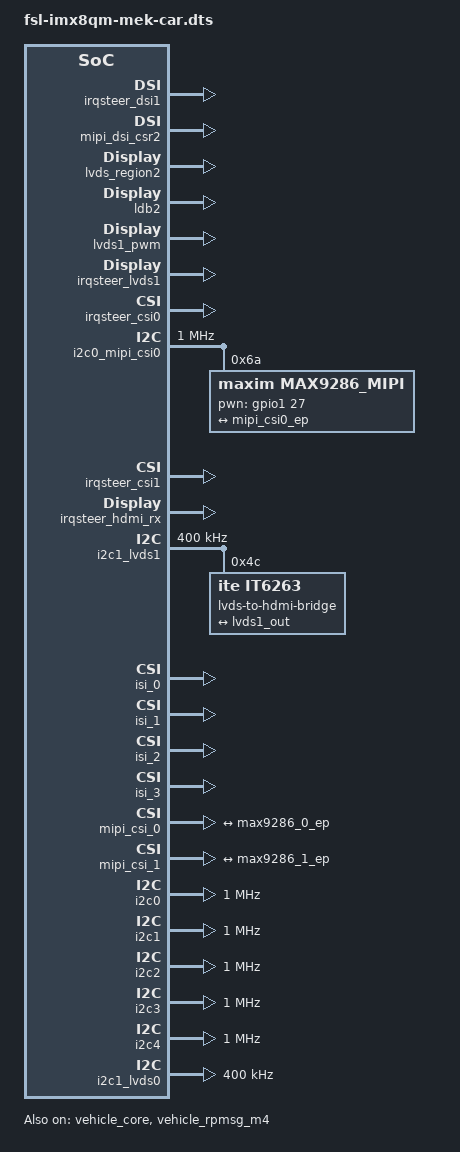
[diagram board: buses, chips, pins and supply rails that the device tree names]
/*
 * Copyright 2018 NXP
 *
 * This program is free software; you can redistribute it and/or
 * modify it under the terms of the GNU General Public License
 * as published by the Free Software Foundation; either version 2
 * of the License, or (at your option) any later version.
 *
 * This program is distributed in the hope that it will be useful,
 * but WITHOUT ANY WARRANTY; without even the implied warranty of
 * MERCHANTABILITY or FITNESS FOR A PARTICULAR PURPOSE.  See the
 * GNU General Public License for more details.
 */

#include "fsl-imx8qm-mek-rpmsg.dts"
/ {
	trusty {
		compatible = "android,trusty-smc-v1";
		ranges;
		#address-cells = <2>;
		#size-cells = <2>;
		use-gicv3-workaround;
		trusty-irq {
			use-gicv3-workaround;
			compatible = "android,trusty-irq-v1";
			interrupt-templates = <&trusty_ipi 0>;
			interrupt-ranges = < 0 15 0>;
		};
		trusty-virtio {
			compatible = "android,trusty-virtio-v1";
		};
		trusty-log {
			compatible = "android,trusty-log-v1";
		};
	};
	trusty_ipi: interrupt-controller@0 {
		compatible = "android,CustomIPI";
		interrupt-controller;
		#interrupt-cells = <1>;
	};
};

/delete-node/ &i2c1_lvds1;
/delete-node/ &camera;
/delete-node/ &dpu2_intsteer;
/delete-node/ &prg10;
/delete-node/ &prg11;
/delete-node/ &prg12;
/delete-node/ &prg13;
/delete-node/ &prg14;
/delete-node/ &prg15;
/delete-node/ &prg16;
/delete-node/ &prg17;
/delete-node/ &prg18;
/delete-node/ &dpr3_channel1;
/delete-node/ &dpr3_channel2;
/delete-node/ &dpr3_channel3;
/delete-node/ &dpr4_channel1;
/delete-node/ &dpr4_channel2;
/delete-node/ &dpr4_channel3;
/delete-node/ &dpu2;
/delete-node/ &pixel_combiner2;

/delete-node/ &irqsteer_dsi1;
/delete-node/ &i2c0_mipi_dsi1;
/delete-node/ &mipi_dsi_csr2;
/delete-node/ &mipi_dsi_phy2;
/delete-node/ &mipi_dsi2;
/delete-node/ &mipi_dsi_bridge2;
/delete-node/ &lvds_region2;
/delete-node/ &ldb2_phy;
/delete-node/ &ldb2;
/delete-node/ &lvds1_pwm;
/delete-node/ &irqsteer_lvds1;

/delete-node/ &irqsteer_csi0;
/delete-node/ &irqsteer_csi1;
/delete-node/ &i2c0_mipi_csi0;
/delete-node/ &i2c0_mipi_csi1;
/delete-node/ &gpio0_mipi_csi0;
/delete-node/ &gpio0_mipi_csi1;
/delete-node/ &irqsteer_hdmi_rx;

&vehicle_core {
	status = "okay";
};

&vehicle_rpmsg_m4 {
	#address-cells = <2>;
	#size-cells = <2>;
	status = "okay";
	ranges;

	clk_post: clk1 {
		compatible = "fsl,imx8qm-post-clk";
		#clock-cells = <1>;
	};

	dpu2_intsteer: dpu_intsteer@57000000 {
		compatible = "fsl,imx8qm-dpu-intsteer", "syscon";
		reg = <0x0 0x57000000 0x0 0x10000>;
	};

	pixel_combiner2: pixel-combiner@57020000 {
		compatible = "fsl,imx8qm-pixel-combiner";
		reg = <0x0 0x57020000 0x0 0x10000>;
		power-domains = <&pd_dc1>;
		status = "okay";
	};

	prg10: prg@57040000 {
		compatible = "fsl,imx8qm-prg";
		reg = <0x0 0x57040000 0x0 0x10000>;
		clocks = <&clk_post IMX8QM_DC1_PRG0_APB_CLK>,
			 <&clk_post IMX8QM_DC1_PRG0_RTRAM_CLK>;
		clock-names = "apb", "rtram";
		power-domains = <&pd_dc1>;
		status = "okay";
	};

	prg11: prg@57050000 {
		compatible = "fsl,imx8qm-prg";
		reg = <0x0 0x57050000 0x0 0x10000>;
		clocks = <&clk_post IMX8QM_DC1_PRG1_APB_CLK>,
			 <&clk_post IMX8QM_DC1_PRG1_RTRAM_CLK>;
		clock-names = "apb", "rtram";
		power-domains = <&pd_dc1>;
		status = "okay";
	};

	prg12: prg@57060000 {
		compatible = "fsl,imx8qm-prg";
		reg = <0x0 0x57060000 0x0 0x10000>;
		clocks = <&clk_post IMX8QM_DC1_PRG2_APB_CLK>,
			 <&clk_post IMX8QM_DC1_PRG2_RTRAM_CLK>;
		clock-names = "apb", "rtram";
		power-domains = <&pd_dc1>;
		status = "okay";
	};

	prg13: prg@57070000 {
		compatible = "fsl,imx8qm-prg";
		reg = <0x0 0x57070000 0x0 0x10000>;
		clocks = <&clk_post IMX8QM_DC1_PRG3_APB_CLK>,
			 <&clk_post IMX8QM_DC1_PRG3_RTRAM_CLK>;
		clock-names = "apb", "rtram";
		power-domains = <&pd_dc1>;
		status = "okay";
	};

	prg14: prg@57080000 {
		compatible = "fsl,imx8qm-prg";
		reg = <0x0 0x57080000 0x0 0x10000>;
		clocks = <&clk_post IMX8QM_DC1_PRG4_APB_CLK>,
			 <&clk_post IMX8QM_DC1_PRG4_RTRAM_CLK>;
		clock-names = "apb", "rtram";
		power-domains = <&pd_dc1>;
		status = "okay";
	};

	prg15: prg@57090000 {
		compatible = "fsl,imx8qm-prg";
		reg = <0x0 0x57090000 0x0 0x10000>;
		clocks = <&clk_post IMX8QM_DC1_PRG5_APB_CLK>,
			 <&clk_post IMX8QM_DC1_PRG5_RTRAM_CLK>;
		clock-names = "apb", "rtram";
		power-domains = <&pd_dc1>;
		status = "okay";
	};

	prg16: prg@570a0000 {
		compatible = "fsl,imx8qm-prg";
		reg = <0x0 0x570a0000 0x0 0x10000>;
		clocks = <&clk_post IMX8QM_DC1_PRG6_APB_CLK>,
			 <&clk_post IMX8QM_DC1_PRG6_RTRAM_CLK>;
		clock-names = "apb", "rtram";
		power-domains = <&pd_dc1>;
		status = "okay";
	};


	prg17: prg@570b0000 {
		compatible = "fsl,imx8qm-prg";
		reg = <0x0 0x570b0000 0x0 0x10000>;
		clocks = <&clk_post IMX8QM_DC1_PRG7_APB_CLK>,
			 <&clk_post IMX8QM_DC1_PRG7_RTRAM_CLK>;
		clock-names = "apb", "rtram";
		power-domains = <&pd_dc1>;
		status = "okay";
	};

	prg18: prg@570c0000 {
		compatible = "fsl,imx8qm-prg";
		reg = <0x0 0x570c0000 0x0 0x10000>;
		clocks = <&clk_post IMX8QM_DC1_PRG8_APB_CLK>,
			 <&clk_post IMX8QM_DC1_PRG8_RTRAM_CLK>;
		clock-names = "apb", "rtram";
		power-domains = <&pd_dc1>;
		status = "okay";
	};

	dpr3_channel1: dpr-channel@570d0000 {
		compatible = "fsl,imx8qm-dpr-channel";
		reg = <0x0 0x570d0000 0x0 0x10000>;
		fsl,sc-resource = <SC_R_DC_1_BLIT0>;
		fsl,prgs = <&prg10>;
		clocks = <&clk_post IMX8QM_DC1_DPR0_APB_CLK>,
			 <&clk_post IMX8QM_DC1_DPR0_B_CLK>,
			 <&clk_post IMX8QM_DC1_RTRAM0_CLK>;
		clock-names = "apb", "b", "rtram";
		power-domains = <&pd_dc1>;
		status = "okay";
	};

	dpr3_channel2: dpr-channel@570e0000 {
		compatible = "fsl,imx8qm-dpr-channel";
		reg = <0x0 0x570e0000 0x0 0x10000>;
		fsl,sc-resource = <SC_R_DC_1_BLIT1>;
		fsl,prgs = <&prg11>, <&prg10>;
		clocks = <&clk_post IMX8QM_DC1_DPR0_APB_CLK>,
			 <&clk_post IMX8QM_DC1_DPR0_B_CLK>,
			 <&clk_post IMX8QM_DC1_RTRAM0_CLK>;
		clock-names = "apb", "b", "rtram";
		power-domains = <&pd_dc1>;
		status = "okay";
	};

	dpr3_channel3: dpr-channel@570f0000 {
		compatible = "fsl,imx8qm-dpr-channel";
		reg = <0x0 0x570f0000 0x0 0x10000>;
		fsl,sc-resource = <SC_R_DC_1_FRAC0>;
		fsl,prgs = <&prg12>;
		clocks = <&clk_post IMX8QM_DC1_DPR0_APB_CLK>,
			 <&clk_post IMX8QM_DC1_DPR0_B_CLK>,
			 <&clk_post IMX8QM_DC1_RTRAM0_CLK>;
		clock-names = "apb", "b", "rtram";
		power-domains = <&pd_dc1>;
		status = "okay";
	};

	dpr4_channel1: dpr-channel@57100000 {
		compatible = "fsl,imx8qm-dpr-channel";
		reg = <0x0 0x57100000 0x0 0x10000>;
		fsl,sc-resource = <SC_R_DC_1_VIDEO0>;
		fsl,prgs = <&prg13>, <&prg14>;
		clocks = <&clk_post IMX8QM_DC1_DPR1_APB_CLK>,
			 <&clk_post IMX8QM_DC1_DPR1_B_CLK>,
			 <&clk_post IMX8QM_DC1_RTRAM1_CLK>;
		clock-names = "apb", "b", "rtram";
		power-domains = <&pd_dc1>;
		status = "okay";
	};

	dpr4_channel2: dpr-channel@57110000 {
		compatible = "fsl,imx8qm-dpr-channel";
		reg = <0x0 0x57110000 0x0 0x10000>;
		fsl,sc-resource = <SC_R_DC_1_VIDEO1>;
		fsl,prgs = <&prg15>, <&prg16>;
		clocks = <&clk_post IMX8QM_DC1_DPR1_APB_CLK>,
			 <&clk_post IMX8QM_DC1_DPR1_B_CLK>,
			 <&clk_post IMX8QM_DC1_RTRAM1_CLK>;
		clock-names = "apb", "b", "rtram";
		power-domains = <&pd_dc1>;
		status = "okay";
	};

	dpr4_channel3: dpr-channel@56712000 {
		compatible = "fsl,imx8qm-dpr-channel";
		reg = <0x0 0x57120000 0x0 0x10000>;
		fsl,sc-resource = <SC_R_DC_1_WARP>;
		fsl,prgs = <&prg17>, <&prg18>;
		clocks = <&clk_post IMX8QM_DC1_DPR1_APB_CLK>,
			 <&clk_post IMX8QM_DC1_DPR1_B_CLK>,
			 <&clk_post IMX8QM_DC1_RTRAM1_CLK>;
		clock-names = "apb", "b", "rtram";
		power-domains = <&pd_dc1>;
		status = "okay";
	};

	dpu2: dpu@57180000 {
		#address-cells = <1>;
		#size-cells = <0>;
		compatible = "fsl,imx8qm-dpu";
		reg = <0x0 0x57180000 0x0 0x40000>;
		intsteer = <&dpu2_intsteer>;
		interrupts = <GIC_SPI 152 IRQ_TYPE_LEVEL_HIGH>,
			     <GIC_SPI 153 IRQ_TYPE_LEVEL_HIGH>,
			     <GIC_SPI 154 IRQ_TYPE_LEVEL_HIGH>,
			     <GIC_SPI 155 IRQ_TYPE_LEVEL_HIGH>,
			     <GIC_SPI 156 IRQ_TYPE_LEVEL_HIGH>,
			     <GIC_SPI 157 IRQ_TYPE_LEVEL_HIGH>,
			     <GIC_SPI 158 IRQ_TYPE_LEVEL_HIGH>,
			     <GIC_SPI 159 IRQ_TYPE_LEVEL_HIGH>,
			     <GIC_SPI 162 IRQ_TYPE_LEVEL_HIGH>,
			     <GIC_SPI 163 IRQ_TYPE_LEVEL_HIGH>;
		interrupt-names = "irq_common",
				  "irq_stream0a",
				  "irq_stream0b",	/* to M4? */
				  "irq_stream1a",
				  "irq_stream1b",	/* to M4? */
				  "irq_reserved0",
				  "irq_reserved1",
				  "irq_blit",
				  "irq_dpr0",
				  "irq_dpr1";
		clocks = <&clk_post IMX8QM_DC1_PLL0_CLK>,
			 <&clk_post IMX8QM_DC1_PLL1_CLK>,
			 <&clk_post IMX8QM_DC1_BYPASS_0_DIV>,
			 <&clk_post IMX8QM_DC1_DISP0_SEL>,
			 <&clk_post IMX8QM_DC1_DISP1_SEL>,
			 <&clk_post IMX8QM_DC1_DISP0_CLK>,
			 <&clk_post IMX8QM_DC1_DISP1_CLK>;
		clock-names = "pll0", "pll1", "bypass0",
			      "disp0_sel", "disp1_sel", "disp0", "disp1";
		power-domains = <&pd_dc1_pll1>;
		fsl,dpr-channels = <&dpr3_channel1>, <&dpr3_channel2>,
				   <&dpr3_channel3>, <&dpr4_channel1>,
				   <&dpr4_channel2>, <&dpr4_channel3>;
		fsl,pixel-combiner = <&pixel_combiner2>;
		status = "okay";

		dpu2_disp0: port@0 {
			reg = <0>;

			dpu2_disp0_mipi_dsi: mipi-dsi-endpoint {
				remote-endpoint = <&mipi_dsi2_in>;
			};
		};

		dpu2_disp1: port@1 {
			reg = <1>;

			dpu2_disp1_lvds0: lvds0-endpoint {
				remote-endpoint = <&ldb2_lvds0>;
			};

			dpu2_disp1_lvds1: lvds1-endpoint {
				remote-endpoint = <&ldb2_lvds1>;
			};
		};
	};

	irqsteer_dsi1: irqsteer@57220000 {
		compatible = "nxp,imx-irqsteer";
		reg = <0x0 0x57220000 0x0 0x1000>;
		interrupts = <GIC_SPI 60 IRQ_TYPE_LEVEL_HIGH>;
		interrupt-controller;
		interrupt-parent = <&gic>;
		#interrupt-cells = <2>;
		clocks = <&clk IMX8QM_MIPI1_LIS_IPG_CLK>;
		clock-names = "ipg";
		power-domains = <&pd_mipi1>;
	};

	i2c0_mipi_dsi1: i2c@57226000 {
		compatible = "fsl,imx8qm-lpi2c";
		reg = <0x0 0x57226000 0x0 0x1000>;
		interrupts = <8 IRQ_TYPE_LEVEL_HIGH>;
		interrupt-parent = <&irqsteer_dsi1>;
		clocks = <&clk IMX8QM_MIPI1_I2C0_CLK>,
			 <&clk IMX8QM_MIPI1_I2C0_IPG_CLK>;
		clock-names = "per", "ipg";
		assigned-clocks = <&clk IMX8QM_MIPI1_I2C0_CLK>;
		assigned-clock-rates = <24000000>;
		power-domains = <&pd_mipi1_i2c0>;
		#address-cells = <1>;
		#size-cells = <0>;
		pinctrl-names = "default";
		pinctrl-0 = <&pinctrl_mipi1_lpi2c0>;
		clock-frequency = <100000>;
		status = "okay";

		adv_bridge2: adv7535@3d {
			compatible = "adi,adv7535", "adi,adv7533";
			reg = <0x3d>;
			adi,dsi-lanes = <4>;
			adi,dsi-channel = <1>;
			interrupt-parent = <&gpio1>;
			interrupts = <23 IRQ_TYPE_LEVEL_LOW>;
			status = "okay";

			port {
				adv7535_2_in: endpoint {
					remote-endpoint = <&mipi_dsi_bridge2_adv>;
				};
			};
		};
	};

	mipi_dsi_csr2: csr@57221000 {
		compatible = "fsl,imx8qm-mipi-dsi-csr", "syscon";
		reg = <0x0 0x57221000 0x0 0x1000>;
	};

	mipi_dsi_phy2: mipi_phy@57228300 {
		#address-cells = <1>;
		#size-cells = <0>;
		compatible = "mixel,imx8qm-mipi-dsi-phy";
		reg = <0x0 0x57228300 0x0 0x100>;
		power-domains = <&pd_mipi1>;
		#phy-cells = <0>;
		status = "disabled";
	};

	mipi_dsi2: mipi_dsi@57228000 {
		compatible = "fsl,imx8qm-mipi-dsi";
		clocks =
			<&clk IMX8QM_MIPI1_PXL_CLK>,
			<&clk IMX8QM_MIPI1_BYPASS_CLK>,
			<&clk IMX8QM_CLK_DUMMY>;
		clock-names = "pixel", "bypass", "phy_ref";
		power-domains = <&pd_mipi1>;
		csr = <&mipi_dsi_csr2>;
		phys = <&mipi_dsi_phy2>;
		phy-names = "dphy";
		pwr-delay = <10>;
		status = "disabled";

		port@0 {
			mipi_dsi2_in: endpoint {
				remote-endpoint = <&dpu2_disp0_mipi_dsi>;
			};
		};

		port@1 {
			mipi_dsi2_out: endpoint {
				remote-endpoint = <&mipi_dsi_bridge2_in>;
			};
		};
	};

	mipi_dsi_bridge2: mipi_dsi_bridge@57228000 {
		#address-cells = <1>;
		#size-cells = <0>;
		compatible = "nwl,mipi-dsi";
		reg = <0x0 0x57228000 0x0 0x300>;
		interrupts = <16 IRQ_TYPE_LEVEL_HIGH>;
		interrupt-parent = <&irqsteer_dsi1>;
		clocks =
			<&clk IMX8QM_CLK_DUMMY>,
			<&clk IMX8QM_MIPI1_DSI_TX_ESC_CLK>,
			<&clk IMX8QM_MIPI1_DSI_RX_ESC_CLK>;
		clock-names = "phy_ref", "tx_esc", "rx_esc";
		assigned-clocks = <&clk IMX8QM_MIPI1_DSI_TX_ESC_DIV>,
				  <&clk IMX8QM_MIPI1_DSI_RX_ESC_DIV>;
		assigned-clock-rates = <18000000>, <72000000>;
		power-domains = <&pd_mipi1>;
		phys = <&mipi_dsi_phy2>;
		phy-names = "dphy";
		status = "disabled";

		port@0 {
			mipi_dsi_bridge2_in: endpoint {
				remote-endpoint = <&mipi_dsi2_out>;
			};
		};

		port@1 {
			mipi_dsi_bridge2_adv: endpoint {
				remote-endpoint = <&adv7535_2_in>;
			};
		};
	};

	lvds_region2: lvds_region@57240000 {
		compatible = "fsl,imx8qm-lvds-region", "syscon";
		reg = <0x0 0x57240000 0x0 0x10000>;
	};

	ldb2_phy: ldb_phy@57241000 {
		#address-cells = <1>;
		#size-cells = <0>;
		compatible = "mixel,lvds-phy";
		reg = <0x0 0x57241000 0x0 0x100>;
		clocks = <&clk_post IMX8QM_LVDS1_PHY_CLK>;
		clock-names = "phy";
		power-domains = <&pd_lvds1>;
		status = "okay";

		ldb2_phy1: port@0 {
			reg = <0>;
			#phy-cells = <0>;
		};

		ldb2_phy2: port@1 {
			reg = <1>;
			#phy-cells = <0>;
		};
	};

	ldb2: ldb@572410e0 {
		#address-cells = <1>;
		#size-cells = <0>;
		compatible = "fsl,imx8qm-ldb";
		clocks = <&clk_post IMX8QM_LVDS1_PIXEL_CLK>,
			 <&clk_post IMX8QM_LVDS1_BYPASS_CLK>;
		clock-names = "pixel", "bypass";
		power-domains = <&pd_lvds1>;
		gpr = <&lvds_region2>;
		status = "okay";

		lvds-channel@0 {
			#address-cells = <1>;
			#size-cells = <0>;
			reg = <0>;
			phys = <&ldb2_phy1>;
			phy-names = "ldb_phy";
			fsl,data-mapping = "jeida";
			fsl,data-width = <24>;
			status = "okay";

			port@0 {
				reg = <0>;

				ldb2_lvds0: endpoint {
					remote-endpoint = <&dpu2_disp1_lvds0>;
				};
			};

			port@1 {
				reg = <1>;

				lvds1_out: endpoint {
					remote-endpoint = <&it6263_1_in>;
				};
			};
		};

		lvds-channel@1 {
			#address-cells = <1>;
			#size-cells = <0>;
			reg = <1>;
			phys = <&ldb2_phy2>;
			phy-names = "ldb_phy";
			status = "disabled";

			port@0 {
				reg = <0>;

				ldb2_lvds1: endpoint {
					remote-endpoint = <&dpu2_disp1_lvds1>;
				};
			};
		};
	};

	lvds1_pwm: pwm@57244000 {
		compatible = "fsl,imx8qm-pwm", "fsl,imx27-pwm";
		reg = <0x0 0x57244000 0 0x1000>;
		clocks = <&clk_post IMX8QM_LVDS1_PWM0_IPG_CLK>,
			 <&clk_post IMX8QM_LVDS1_PWM0_CLK>;
		clock-names = "ipg", "per";
		assigned-clocks = <&clk_post IMX8QM_LVDS1_PWM0_CLK>;
		assigned-clock-rates = <24000000>;
		#pwm-cells = <2>;
		power-domains = <&pd_lvds1_pwm>;
		pinctrl-names = "default";
		pinctrl-0 = <&pinctrl_lvds1_pwm0>;
		status = "okay";
	};

	irqsteer_lvds1: irqsteer@572400000 {
		compatible = "nxp,imx-irqsteer";
		reg = <0x0 0x57240000 0x0 0x1000>;
		interrupts = <GIC_SPI 58 IRQ_TYPE_LEVEL_HIGH>;
		interrupt-controller;
		interrupt-parent = <&gic>;
		#interrupt-cells = <2>;
		clocks = <&clk_post IMX8QM_LVDS1_LIS_IPG_CLK>;
		clock-names = "ipg";
		power-domains = <&pd_lvds1>;
	};

	irqsteer_csi0: irqsteer@58220000 {
		compatible = "nxp,imx-irqsteer";
		reg = <0x0 0x58220000 0x0 0x1000>;
		interrupts = <GIC_SPI 320 IRQ_TYPE_LEVEL_HIGH>;
		interrupt-controller;
		interrupt-parent = <&gic>;
		#interrupt-cells = <2>;
		clocks = <&clk IMX8QM_CLK_DUMMY>;
		clock-names = "ipg";
		power-domains = <&pd_csi0>;
	};

	i2c0_mipi_csi0: i2c@58226000 {
		#address-cells = <1>;
		#size-cells = <0>;
		compatible = "fsl,imx8qm-lpi2c";
		reg = <0x0 0x58226000 0x0 0x1000>;
		interrupts = <8 IRQ_TYPE_LEVEL_HIGH>;
		interrupt-parent = <&irqsteer_csi0>;
		clocks = <&clk_post IMX8QM_CSI0_I2C0_CLK>,
			 <&clk_post IMX8QM_CSI0_I2C0_IPG_CLK>;
		clock-names = "per", "ipg";
		assigned-clocks = <&clk_post IMX8QM_CSI0_I2C0_CLK>;
		assigned-clock-rates = <24000000>;
		power-domains = <&pd_csi0_i2c0>;
		pinctrl-names = "default";
		status = "okay";
		clock-frequency = <1000000>;
		pinctrl-0 = <&pinctrl_mipi_csi0_en>;
		max9286_mipi@6A	 {
			compatible = "maxim,max9286_mipi";
			reg = <0x6A>;
			clocks = <&clk IMX8QM_CLK_DUMMY>;
			clock-names = "capture_mclk";
			mclk = <27000000>;
			mclk_source = <0>;
			pwn-gpios = <&gpio1 27 GPIO_ACTIVE_HIGH>;
			virtual-channel;
			port {
				max9286_0_ep: endpoint {
				remote-endpoint = <&mipi_csi0_ep>;
				data-lanes = <1 2 3 4>;
				};
			};
		};
	};

	gpio0_mipi_csi0: gpio@58222000 {
		compatible = "fsl,imx8qm-gpio", "fsl,imx35-gpio";
		reg = <0x0 0x58222000 0x0 0x1000>;
		interrupts = <0 IRQ_TYPE_LEVEL_HIGH>;
		interrupt-parent = <&irqsteer_csi0>;
		gpio-controller;
		#gpio-cells = <2>;
		interrupt-controller;
		#interrupt-cells = <2>;
		power-domains = <&pd_csi0>;
		status = "disabled";
	};

	irqsteer_csi1: irqsteer@582400000 {
		compatible = "nxp,imx-irqsteer";
		reg = <0x0 0x58240000 0x0 0x1000>;
		interrupts = <GIC_SPI 321 IRQ_TYPE_LEVEL_HIGH>;
		interrupt-controller;
		interrupt-parent = <&gic>;
		#interrupt-cells = <2>;
		clocks = <&clk IMX8QM_CLK_DUMMY>;
		clock-names = "ipg";
		power-domains = <&pd_csi1>;
	};

	i2c0_mipi_csi1: i2c@58246000 {
		compatible = "fsl,imx8qm-lpi2c";
		reg = <0x0 0x58246000 0x0 0x1000>;
		interrupts = <8 IRQ_TYPE_LEVEL_HIGH>;
		interrupt-parent = <&irqsteer_csi1>;
		clocks = <&clk IMX8QM_CSI1_I2C0_CLK>,
			 <&clk IMX8QM_CSI1_I2C0_IPG_CLK>;
		clock-names = "per", "ipg";
		assigned-clocks = <&clk IMX8QM_CSI1_I2C0_CLK>;
		assigned-clock-rates = <24000000>;
		power-domains = <&pd_csi1_i2c0>;
		#address-cells = <1>;
		#size-cells = <0>;
		clock-frequency = <100000>;
		status = "disabled";

		max9286_mipi@6A	 {
			compatible = "maxim,max9286_mipi";
			reg = <0x6A>;
			pinctrl-names = "default";
			pinctrl-0 = <&pinctrl_mipi_csi1_en_rst>;
			clocks = <&clk IMX8QM_CLK_DUMMY>;
			clock-names = "capture_mclk";
			mclk = <27000000>;
			mclk_source = <0>;
			pwn-gpios = <&gpio1 30 GPIO_ACTIVE_HIGH>;
			virtual-channel;
			port {
				max9286_1_ep: endpoint {
				remote-endpoint = <&mipi_csi1_ep>;
				data-lanes = <1 2 3 4>;
				};
			};
		};
	};

	gpio0_mipi_csi1: gpio@58242000 {
		compatible = "fsl,imx8qm-gpio", "fsl,imx35-gpio";
		reg = <0x0 0x58242000 0x0 0x1000>;
		interrupts = <0 IRQ_TYPE_LEVEL_HIGH>;
		interrupt-parent = <&irqsteer_csi1>;
		gpio-controller;
		#gpio-cells = <2>;
		interrupt-controller;
		#interrupt-cells = <2>;
		power-domains = <&pd_csi1>;
		status = "disabled";
	};

	irqsteer_hdmi_rx: irqsteer@58260000 {
		compatible = "nxp,imx-irqsteer";
		reg = <0x0 0x58260000 0x0 0x1000>;
		interrupts = <GIC_SPI 322 IRQ_TYPE_LEVEL_HIGH>;
		interrupt-controller;
		#interrupt-cells = <2>;
		clocks = <&clk IMX8QM_HDMI_RX_IPG_CLK>;
		clock-names = "ipg";
		power-domains = <&pd_hdmi_rx>;
	};

	i2c1_lvds1: i2c@57247000 {
		#address-cells = <1>;
		#size-cells = <0>;
		compatible = "fsl,imx8qm-lpi2c";
		reg = <0x0 0x57247000 0x0 0x1000>;
		interrupts = <9 IRQ_TYPE_LEVEL_HIGH>;
		interrupt-parent = <&irqsteer_lvds1>;
		clocks = <&clk_post IMX8QM_LVDS1_I2C0_CLK>,
			 <&clk_post IMX8QM_LVDS1_I2C0_IPG_CLK>;
		clock-names = "per", "ipg";
		assigned-clocks = <&clk_post IMX8QM_LVDS1_I2C0_CLK>;
		assigned-clock-rates = <24000000>;
		power-domains = <&pd_lvds1_i2c0>;
		pinctrl-names = "default";
		pinctrl-0 = <&pinctrl_lvds1_lpi2c1>;
		clock-frequency = <400000>;
		status = "okay";
		lvds-to-hdmi-bridge@4c {
			compatible = "ite,it6263";
			reg = <0x4c>;
			port {
				it6263_1_in: endpoint {
					clock-lanes = <3>;
					data-lanes = <0 1 2 4>;
					remote-endpoint = <&lvds1_out>;
				};
			};
		};
	};

	camera: camera {
		compatible = "fsl,mxc-md";
		#address-cells = <2>;
		#size-cells = <2>;
		ranges;

		isi_0: isi@58100000 {
			compatible = "fsl,imx8-isi";
			reg = <0x0 0x58100000 0x0 0x10000>;
			interrupts = <0 297 0>;
			interface = <2 0 2>;  /* <Input MIPI_VCx Output>
						Input:  0-DC0, 1-DC1, 2-MIPI CSI0, 3-MIPI CSI1, 4-HDMI, 5-MEM
						VCx:    0-VC0, 1-VC1, 2-VC2, 3-VC3, MIPI CSI only
						Output: 0-DC0, 1-DC1, 2-MEM */
			clocks = <&clk IMX8QM_IMG_PDMA_0_CLK>;
			clock-names = "per";
			assigned-clocks = <&clk IMX8QM_IMG_PDMA_0_CLK>;
			assigned-clock-rates = <600000000>;
			power-domains =<&pd_isi_ch0>;
			low_latency;
			status = "okay";
		};

		isi_1: isi@58110000 {
			compatible = "fsl,imx8-isi";
			reg = <0x0 0x58110000 0x0 0x10000>;
			interrupts = <0 298 0>;
			interface = <2 1 2>;
			clocks = <&clk IMX8QM_IMG_PDMA_1_CLK>;
			clock-names = "per";
			assigned-clocks = <&clk IMX8QM_IMG_PDMA_1_CLK>;
			assigned-clock-rates = <600000000>;
			power-domains =<&pd_isi_ch1>;
			low_latency;
			status = "okay";
		};

		isi_2: isi@58120000 {
			compatible = "fsl,imx8-isi";
			reg = <0x0 0x58120000 0x0 0x10000>;
			interrupts = <0 299 0>;
			interface = <2 2 2>;
			clocks = <&clk IMX8QM_IMG_PDMA_2_CLK>;
			clock-names = "per";
			assigned-clocks = <&clk IMX8QM_IMG_PDMA_2_CLK>;
			assigned-clock-rates = <600000000>;
			power-domains =<&pd_isi_ch2>;
			low_latency;
			status = "okay";
		};

		isi_3: isi@58130000 {
			compatible = "fsl,imx8-isi";
			reg = <0x0 0x58130000 0x0 0x10000>;
			interrupts = <0 300 0>;
			interface = <2 3 2>;
			clocks = <&clk IMX8QM_IMG_PDMA_3_CLK>;
			clock-names = "per";
			assigned-clocks = <&clk IMX8QM_IMG_PDMA_3_CLK>;
			assigned-clock-rates = <600000000>;
			power-domains =<&pd_isi_ch3>;
			low_latency;
			status = "okay";
		};

		isi_4: isi@58140000 {
			compatible = "fsl,imx8-isi";
			reg = <0x0 0x58140000 0x0 0x10000>;
			interrupts = <0 301 0>;
			interface = <3 0 2>;
			clocks = <&clk IMX8QM_IMG_PDMA_4_CLK>;
			clock-names = "per";
			assigned-clocks = <&clk IMX8QM_IMG_PDMA_4_CLK>;
			assigned-clock-rates = <600000000>;
			power-domains =<&pd_isi_ch4>;
			status = "disabled";
		};

		isi_5: isi@58150000 {
			compatible = "fsl,imx8-isi";
			reg = <0x0 0x58150000 0x0 0x10000>;
			interrupts = <0 302 0>;
			interface = <3 1 2>;
			clocks = <&clk IMX8QM_IMG_PDMA_5_CLK>;
			clock-names = "per";
			assigned-clocks = <&clk IMX8QM_IMG_PDMA_5_CLK>;
			assigned-clock-rates = <600000000>;
			power-domains =<&pd_isi_ch5>;
			status = "disabled";
		};

		isi_6: isi@58160000 {
			compatible = "fsl,imx8-isi";
			reg = <0x0 0x58160000 0x0 0x10000>;
			interrupts = <0 303 0>;
			interface = <3 2 2>;
			clocks = <&clk IMX8QM_IMG_PDMA_6_CLK>;
			clock-names = "per";
			assigned-clocks = <&clk IMX8QM_IMG_PDMA_6_CLK>;
			assigned-clock-rates = <600000000>;
			power-domains =<&pd_isi_ch6>;
			status = "disabled";
		};

		isi_7: isi@58170000 {
			compatible = "fsl,imx8-isi";
			reg = <0x0 0x58170000 0x0 0x10000>;
			interrupts = <0 304 0>;
			interface = <3 3 2>;
			clocks = <&clk IMX8QM_IMG_PDMA_7_CLK>;
			clock-names = "per";
			assigned-clocks = <&clk IMX8QM_IMG_PDMA_7_CLK>;
			assigned-clock-rates = <600000000>;
			power-domains =<&pd_isi_ch7>;
			status = "disabled";
		};

		mipi_csi_0: csi@58227000 {
			compatible = "fsl,mxc-mipi-csi2";
			reg = <0x0 0x58227000 0x0 0x1000>, /* CSI0 Controler base addr */
				<0x0 0x58221000 0x0 0x1000>; /* CSI0 Subsystem CSR base addr  */
			interrupts = <10 IRQ_TYPE_LEVEL_HIGH>;
			interrupt-parent = <&irqsteer_csi0>;
			clocks = <&clk IMX8QM_CLK_DUMMY>,
				 <&clk_post IMX8QM_CSI0_CORE_CLK>,
				 <&clk_post IMX8QM_CSI0_ESC_CLK>,
				 <&clk IMX8QM_IMG_PXL_LINK_CSI0_CLK>;
			clock-names = "clk_apb", "clk_core", "clk_esc", "clk_pxl";
			assigned-clocks = <&clk_post IMX8QM_CSI0_CORE_CLK>,
					  <&clk_post IMX8QM_CSI0_ESC_CLK>;
			assigned-clock-rates = <360000000>, <72000000>;
			power-domains = <&pd_csi0>;
			#address-cells = <1>;
			#size-cells = <0>;
			virtual-channel;
			status = "okay";

			/* Camera 0  MIPI CSI-2 (CSIS0) */
			port@0 {
				reg = <0>;
				mipi_csi0_ep: endpoint {
					remote-endpoint = <&max9286_0_ep>;
					data-lanes = <1 2 3 4>;
				};
			};
		};

		mipi_csi_1: csi@58247000 {
			compatible = "fsl,mxc-mipi-csi2";
			reg = <0x0 0x58247000 0x0 0x1000>, /* CSI1 Controler base addr */
			      <0x0 0x58241000 0x0 0x1000>; /* CSI1 Subsystem CSR base addr  */
			interrupts = <10 IRQ_TYPE_LEVEL_HIGH>;
			interrupt-parent = <&irqsteer_csi1>;
			clocks = <&clk IMX8QM_CLK_DUMMY>,
				 <&clk IMX8QM_CSI1_CORE_CLK>,
				 <&clk IMX8QM_CSI1_ESC_CLK>,
				 <&clk IMX8QM_IMG_PXL_LINK_CSI1_CLK>;
			clock-names = "clk_apb", "clk_core", "clk_esc", "clk_pxl";
			assigned-clocks = <&clk IMX8QM_CSI1_CORE_CLK>,
					  <&clk IMX8QM_CSI1_ESC_CLK>;
			assigned-clock-rates = <360000000>, <72000000>;
			power-domains = <&pd_csi1>;
			#address-cells = <1>;
			#size-cells = <0>;
			virtual-channel;
			status = "okay";

			/* Camera 0 MIPI CSI-2 (CSIS1) */
			port@1 {
				reg = <1>;
				mipi_csi1_ep: endpoint {
					remote-endpoint = <&max9286_1_ep>;
					data-lanes = <1 2 3 4>;
				};
			};
		};

		hdmi_rx: hdmi_rx@58268000 {
			compatible = "fsl,imx-hdmi-rx";
			reg = <0x0 0x58268000 0x0 0x10000>, /* HDP Controller */
			      <0x0 0x58261000 0x0 0x1000>; /* HDP SubSystem CSR  */
			interrupts = <10 IRQ_TYPE_LEVEL_HIGH>,
				     <13 IRQ_TYPE_LEVEL_HIGH>;
			interrupt-names = "plug_in", "plug_out";

			interrupt-parent = <&irqsteer_hdmi_rx>;
			clocks = <&clk IMX8QM_HDMI_RX_HD_REF_CLK>,
				<&clk IMX8QM_HDMI_RX_HD_CORE_CLK>,
				<&clk IMX8QM_HDMI_RX_PXL_CLK>,
				<&clk IMX8QM_HDMI_RX_SINK_PCLK>,
				<&clk IMX8QM_HDMI_RX_SINK_SCLK>,
				<&clk IMX8QM_HDMI_RX_PXL_ENC_CLK>,
				<&clk IMX8QM_HDMI_RX_I2S_CLK>,
				<&clk IMX8QM_HDMI_RX_SPDIF_CLK>,
				<&clk IMX8QM_IMG_PXL_LINK_HDMI_IN_CLK>;
			clock-names = "ref_clk", "core_clk", "pxl_clk",
					"pclk", "sclk", "enc_clk",
					"i2s_clk", "spdif_clk",
					"pxl_link_clk";
			power-domains = <&pd_hdmi_rx_bypass>;
			status = "disabled";
		};

		jpegdec: jpegdec@58400000 {
			compatible = "fsl,imx8-jpgdec";
			reg = <0x0 0x58400000 0x0 0x00040020 >;
			interrupts = <GIC_SPI 309 IRQ_TYPE_LEVEL_HIGH>;
			clocks = <&clk IMX8QM_IMG_JPEG_DEC_IPG_CLK >,
				 <&clk IMX8QM_IMG_JPEG_DEC_CLK >;
			clock-names = "ipg", "per";
			assigned-clocks = <&clk IMX8QM_IMG_JPEG_DEC_IPG_CLK >,
					  <&clk IMX8QM_IMG_JPEG_DEC_CLK >;
			assigned-clock-rates = <200000000>;
			power-domains =<&pd_jpgdec>;
		};

		jpegenc: jpegenc@58450000 {
			compatible = "fsl,imx8-jpgenc";
			reg = <0x0 0x58450000 0x0 0x00240020 >;
			interrupts = <GIC_SPI 305 IRQ_TYPE_LEVEL_HIGH>;
			clocks = <&clk IMX8QM_IMG_JPEG_ENC_IPG_CLK >,
				 <&clk IMX8QM_IMG_JPEG_ENC_CLK >;
			clock-names = "ipg", "per";
			assigned-clocks = <&clk IMX8QM_IMG_JPEG_ENC_IPG_CLK >,
					  <&clk IMX8QM_IMG_JPEG_ENC_CLK >;
			assigned-clock-rates = <200000000>;
			power-domains =<&pd_jpgenc>;
		};
	};

};

&iomuxc {
	imx8qm-mek {
		pinctrl_mipi_csi0_en: mipi_csi0_en{
			fsl,pins = <
				SC_P_MIPI_CSI0_GPIO0_00_LSIO_GPIO1_IO27		0x00000021
				SC_P_MIPI_CSI0_GPIO0_01_LSIO_GPIO1_IO28		0x00000021
			>;
		};
	};
};

&gpio1 {
	/delete-property/ power-domains;
};

&i2c0 {
	clock-frequency = <1000000>;
};

&i2c1 {
	clock-frequency = <1000000>;
};

&i2c2 {
	clock-frequency = <1000000>;
};

&i2c3 {
	clock-frequency = <1000000>;
};

&i2c4 {
	clock-frequency = <1000000>;
};

&i2c0_cm40 {
	clock-frequency = <1000000>;
	status = "disabled";
};

&i2c0_mipi_dsi1 {
	clock-frequency = <1000000>;
	status = "disabled";
};

&wm8960 {
	quick-probe;
};

&i2c0_hdmi {
	status = "disabled";
};

&i2c1_lvds0 {
	clock-frequency = <400000>;
	status = "okay";
};
&lvds0_pwm {
	status = "disabled";
};

&lvds_backlight0 {
	status = "disabled";
};

&lvds_backlight1 {
	status = "disabled";
};

&mipi_dsi_phy1 {
	status = "disabled";
};

&mipi_dsi1 {
	status = "disabled";
};

&mipi_dsi_bridge1 {
	status = "disabled";
};

&mipi_dsi_phy2 {
   status = "disabled";
};

&mipi_dsi2 {
   status = "disabled";
};

&mipi_dsi_bridge2 {
   status = "disabled";
};

&usdhc2 {
	status = "disabled";
};

&amix {
	status = "disabled";
};

&asrc0 {
	status = "disabled";
};

&i2c0_mipi_dsi0 {
	status = "disabled";
};

&jpegdec {
	status = "disabled";
};

&jpegenc {
	status = "disabled";
};
